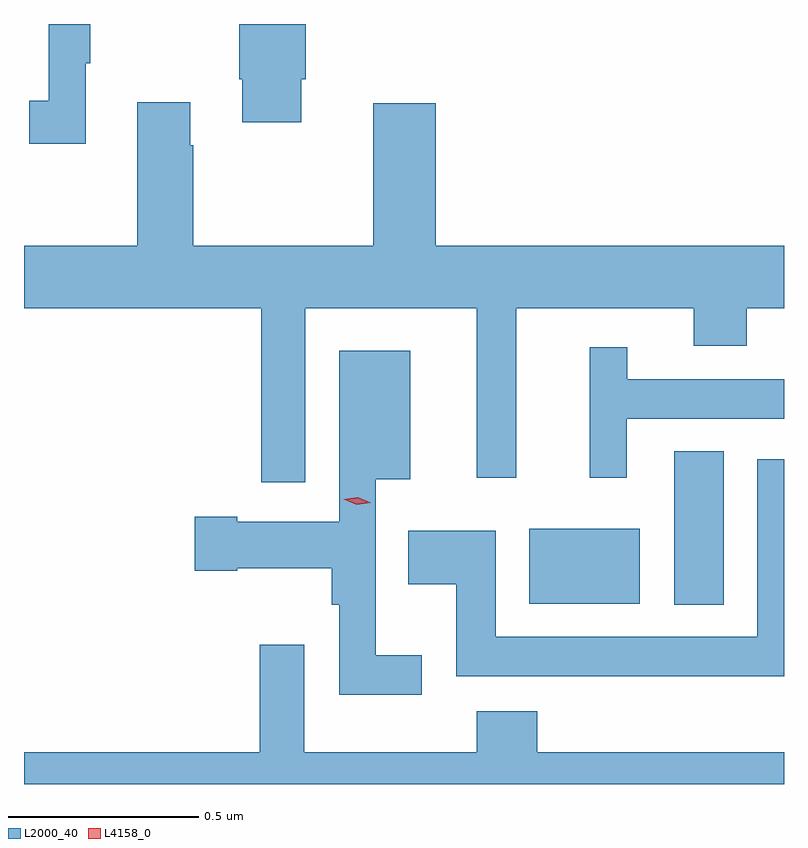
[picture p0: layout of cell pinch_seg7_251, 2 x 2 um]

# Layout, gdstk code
import gdstk
lib = gdstk.Library(unit=1e-6, precision=1e-09)
def R(c, l, rs):  # rectangles x0, y0, x1, y1
    for r in rs: c.add(gdstk.rectangle(r[:2], r[2:], *l))
def P(c, l, *ps):  # polygons
    for p in ps: c.add(gdstk.Polygon(p, *l))
L2000_40 = (2000, 40)
L4158_0 = (4158, 0)

pinch_seg7_251 = lib.new_cell('pinch_seg7_251')
R(pinch_seg7_251, L2000_40, [(765.2,1043.792,765.331,1044.196), (764.819,1043.795,765.109,1043.992)])
P(pinch_seg7_251, L2000_40, [(763.651,1045.217),(763.663,1045.217),(763.663,1045.32),(763.554,1045.32),(763.554,1045.118),(763.503,1045.118),(763.503,1045.005),(763.651,1045.005)],
  [(764.218,1045.174),(764.231,1045.174),(764.231,1045.32),(764.056,1045.32),(764.056,1045.174),(764.063,1045.174),(764.063,1045.062),(764.218,1045.062)],
  [(764.572,1045.111),(764.408,1045.111),(764.408,1044.736),(763.935,1044.736),(763.935,1045.001),(763.927,1045.001),(763.927,1045.114),(763.787,1045.114),(763.787,1044.736),(763.489,1044.736),(763.489,1044.572),(764.113,1044.572),(764.113,1044.114),(764.229,1044.114),(764.229,1044.572),(764.681,1044.572),(764.681,1044.126),(764.785,1044.126),(764.785,1044.572),(765.251,1044.572),(765.251,1044.473),(765.391,1044.473),(765.391,1044.572),(765.489,1044.572),(765.489,1044.736),(764.572,1044.736)],
  [(765.075,1044.281),(765.489,1044.281),(765.489,1044.385),(765.076,1044.385),(765.076,1044.469),(764.978,1044.469),(764.978,1044.126),(765.075,1044.126)],
  [(764.536,1043.659),(764.415,1043.659),(764.415,1044.122),(764.506,1044.122),(764.506,1044.46),(764.318,1044.46),(764.318,1044.01),(764.05,1044.01),(764.05,1044.023),(763.938,1044.023),(763.938,1043.881),(764.05,1043.881),(764.05,1043.888),(764.299,1043.888),(764.299,1043.792),(764.319,1043.792),(764.319,1043.555),(764.536,1043.555)],
  [(765.489,1044.175),(765.419,1044.175),(765.419,1043.707),(764.731,1043.707),(764.731,1043.986),(764.5,1043.986),(764.5,1043.846),(764.627,1043.846),(764.627,1043.603),(765.489,1043.603)],
  [(765.489,1043.404),(764.84,1043.404),(764.84,1043.512),(764.68,1043.512),(764.68,1043.404),(764.226,1043.404),(764.226,1043.686),(764.11,1043.686),(764.11,1043.404),(763.489,1043.404),(763.489,1043.32),(765.489,1043.32)])
P(pinch_seg7_251, L4158_0, [(764.365,1044.055),(764.331,1044.069),(764.331,1044.07),(764.331,1044.07),(764.367,1044.075),(764.401,1044.06),(764.401,1044.06),(764.401,1044.06)])

lib.write_gds('pinch_seg7_251.gds')
